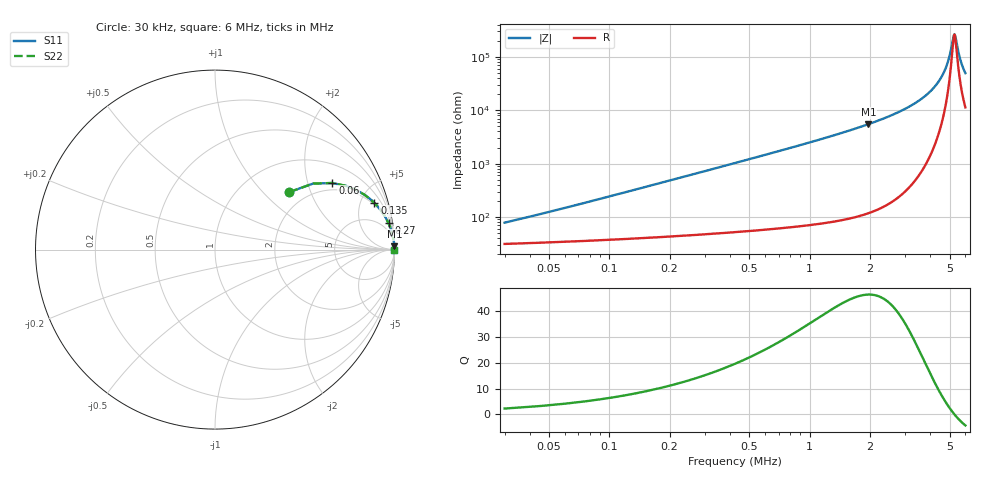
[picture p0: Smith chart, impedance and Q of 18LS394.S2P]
! Coilcraft 1812LS-394 Chip Inductor
! 8 August 2002
# MHZ S MA R 50
!Freq  MagS11  AngS11  MagS21  AngS21  MagS12  AngS12  MagS22  AngS22
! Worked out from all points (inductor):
!   399 points, 30 kHz to 6 MHz, reference 50 ohm
!   read as one part in series: L = 382 uH near 45 kHz
!   highest Q = 46.5 at 1.965 MHz (marker M1), where L = 443 uH
!   self-resonance near 5.28 MHz
!   S11 on the Smith chart (normalised r, x): 30 kHz: 1.63, +1.44; 60 kHz: 1.69, +2.88; 135 kHz: 1.79, +6.48; 270 kHz: 2, +13; 6 MHz: open
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0.03  0.5243 37.7  0.6675 -28.7  0.6675 -28.7  0.5243 37.7
0.045  0.6591 33.9  0.5835 -39.1  0.5835 -39.1  0.6591 33.9
0.06  0.7516 29.6  0.5076 -47.0  0.5076 -47.0  0.7516 29.6
0.09  0.8571 22.7  0.391 -57.7  0.391 -57.7  0.8571 22.7
0.135  0.9253 16.3  0.2833 -66.7  0.2833 -66.7  0.9253 16.3
0.27  0.9781 8.6  0.1502 -77.3  0.1502 -77.3  0.9781 8.6
0.405  0.9896 5.8  0.1011 -81.2  0.1011 -81.2  0.9896 5.8
0.57  0.9945 4.1  0.07179 -83.5  0.07179 -83.5  0.9945 4.1
1.035  0.9982 2.2  0.03863 -86.2  0.03863 -86.2  0.9982 2.2
1.965  0.9994 1.0  0.01826 -87.7  0.01826 -87.7  0.9994 1.0
2.025  0.9995 1.0  0.01755 -87.8  0.01755 -87.8  0.9995 1.0
3.015  0.9997 0.5  0.00933 -87.8  0.00933 -87.8  0.9997 0.5
4.02  0.9997 0.3  0.00439 -86.1  0.00439 -86.1  0.9997 0.3
4.62  0.9997 0.1  0.002169 -81.4  0.002169 -81.4  0.9997 0.1
4.83  0.9997 0.1  0.001481 -76.8  0.001481 -76.8  0.9997 0.1
5.01  0.9996 0.0  0.000935 -67.8  0.000935 -67.8  0.9996 0.0
5.22  0.9996 0.0  0.0004338 -30.5  0.0004338 -30.5  0.9996 0.0
5.295  0.9996 -0.0  0.0003814 0.6  0.0003814 0.6  0.9996 -0.0
5.355  0.9996 -0.0  0.0004277 25.0  0.0004277 25.0  0.9996 -0.0
5.52  0.9996 -0.0  0.0007724 58.3  0.0007724 58.3  0.9996 -0.0
5.655  0.9996 -0.1  0.001119 67.9  0.001119 67.9  0.9996 -0.1
6  0.9995 -0.1  0.002024 76.7  0.002024 76.7  0.9995 -0.1
